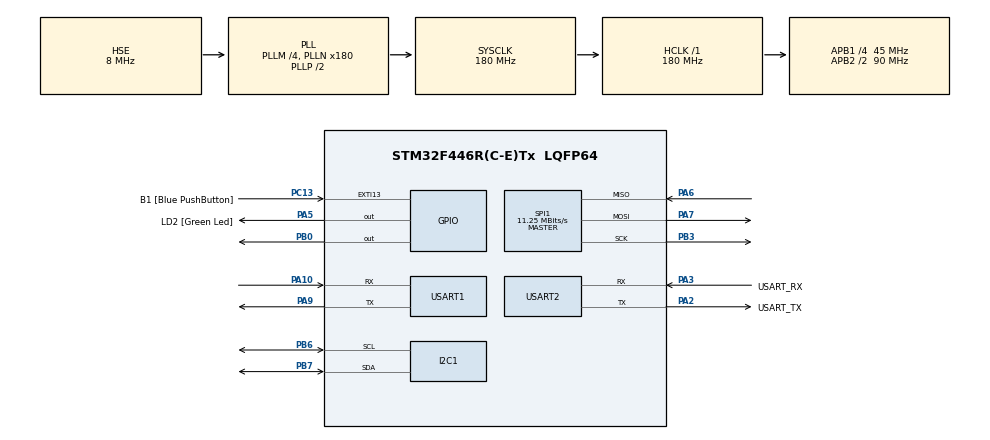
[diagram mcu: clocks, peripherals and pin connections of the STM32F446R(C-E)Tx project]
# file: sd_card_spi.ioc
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FATFS._MAX_SS=4096
FATFS._USE_LFN=1
Mcu.Family=STM32F4
Mcu.Name=STM32F446R(C-E)Tx
Mcu.Package=LQFP64
NVIC.PriorityGroup=NVIC_PRIORITYGROUP_0
NVIC.RTC_Alarm_IRQn=true\:0\:0\:false\:false\:true\:true\:true
PA10.Mode=Asynchronous
PA10.Signal=USART1_RX
PA13.GPIO_Label=TMS
PA13.Mode=Serial_Wire
PA13.Signal=SYS_JTMS-SWDIO
PA14.GPIO_Label=TCK
PA14.Mode=Serial_Wire
PA14.Signal=SYS_JTCK-SWCLK
PA2.GPIO_Label=USART_TX
PA2.Mode=Asynchronous
PA2.Signal=USART2_TX
PA3.GPIO_Label=USART_RX
PA3.Mode=Asynchronous
PA3.Signal=USART2_RX
PA5.GPIO_Label=LD2 [Green Led]
PA5.Signal=GPIO_Output
PA6.Mode=Full_Duplex_Master
PA6.Signal=SPI1_MISO
PA7.Mode=Full_Duplex_Master
PA7.Signal=SPI1_MOSI
PA9.Mode=Asynchronous
PA9.Signal=USART1_TX
PB0.Signal=GPIO_Output
PB3.Mode=Full_Duplex_Master
PB3.Signal=SPI1_SCK
PB6.Mode=I2C
PB6.Signal=I2C1_SCL
PB7.Mode=I2C
PB7.Signal=I2C1_SDA
PC13.GPIO_Label=B1 [Blue PushButton]
PC13.GPIO_ModeDefaultEXTI=GPIO_MODE_IT_FALLING
PC13.Signal=GPXTI13
PC14-OSC32_IN.Mode=LSE-External-Oscillator
PC14-OSC32_IN.Signal=RCC_OSC32_IN
PC15-OSC32_OUT.Mode=LSE-External-Oscillator
PC15-OSC32_OUT.Signal=RCC_OSC32_OUT
PH0-OSC_IN.Mode=HSE-External-Oscillator
PH0-OSC_IN.Signal=RCC_OSC_IN
PH1-OSC_OUT.Mode=HSE-External-Oscillator
PH1-OSC_OUT.Signal=RCC_OSC_OUT
ProjectManager.HeapSize=0x200
ProjectManager.StackSize=0x400
ProjectManager.TargetToolchain=STM32CubeIDE
RCC.48MHZClocksFreq_Value=84000000
RCC.AHBFreq_Value=180000000
RCC.APB1CLKDivider=RCC_HCLK_DIV4
RCC.APB1Freq_Value=45000000
RCC.APB1TimFreq_Value=90000000
RCC.APB2CLKDivider=RCC_HCLK_DIV2
RCC.APB2Freq_Value=90000000
RCC.APB2TimFreq_Value=180000000
RCC.CortexFreq_Value=180000000
RCC.FLatency-AdvancedSettings=FLASH_LATENCY_5
RCC.HCLKFreq_Value=180000000
RCC.HSE_VALUE=8000000
RCC.HSI_VALUE=16000000
RCC.PLLM=4
RCC.PLLN=180
RCC.PLLSourceVirtual=RCC_PLLSOURCE_HSE
RCC.SYSCLKFreq_VALUE=180000000
RCC.SYSCLKSource=RCC_SYSCLKSOURCE_PLLCLK
RCC.USBFreq_Value=180000000
RCC.VCOOutputFreq_Value=360000000
RTC.Alarm=RTC_ALARM_A
RTC.Date=22
RTC.Hours=5
RTC.Hours_A=5
RTC.Minutes=40
RTC.Minutes_A=45
RTC.Month=RTC_MONTH_MAY
RTC.WeekDay=RTC_WEEKDAY_FRIDAY
RTC.Year=20
SPI1.BaudRatePrescaler=SPI_BAUDRATEPRESCALER_8
SPI1.CalculateBaudRate=11.25 MBits/s
SPI1.Direction=SPI_DIRECTION_2LINES
SPI1.Mode=SPI_MODE_MASTER
SPI1.VirtualType=VM_MASTER
USART1.VirtualMode=VM_ASYNC
USART2.VirtualMode=VM_ASYNC
VP_FATFS_VS_Generic.Mode=User_defined
VP_RTC_VS_RTC_Activate.Mode=RTC_Enabled
VP_RTC_VS_RTC_Alarm_A_Intern.Mode=Alarm A
VP_RTC_VS_RTC_Calendar.Mode=RTC_Calendar
board=NUCLEO-F446RE

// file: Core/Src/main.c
/* USER CODE BEGIN Header */
/**
  ******************************************************************************
  * @file           : main.c
  * @brief          : Main program body
  ******************************************************************************
  * @attention
  *
  * <h2><center>&copy; Copyright (c) 2020 STMicroelectronics.
  * All rights reserved.</center></h2>
  *
  * This software component is licensed by ST under BSD 3-Clause license,
  * the "License"; You may not use this file except in compliance with the
  * License. You may obtain a copy of the License at:
  *                        opensource.org/licenses/BSD-3-Clause
  *
  ******************************************************************************
  */
/* USER CODE END Header */
/*
 ******************************************************************************
 * Project: ATM mini
 * Developer: Luis Arturo Reyes Llanos
 * E-mail: desarrollo.hardware@cdsautomático
 *
 * Overview: this
 ******************************************************************************
 */

#include "main.h"
#include "fatfs.h"

/* USER CODE BEGIN Includes */
#include "fatfs_sd.h"
#include "stdio.h"
#include "string.h"
/* USER CODE END Includes */

/* USER CODE BEGIN PD */
#define BUFFER_SIZE 128	//Buffer para la lectura de memoria SD
#define DS3231_ADDRESS 0xD0
/* USER CODE END PD */

I2C_HandleTypeDef hi2c1;

RTC_HandleTypeDef hrtc;

SPI_HandleTypeDef hspi1;

UART_HandleTypeDef huart1;
UART_HandleTypeDef huart2;

/* USER CODE BEGIN PV */
uint8_t buttonPinFlag;		//Bandera para la interrupción externa.

FATFS fs;  					//Variable de tipo archivo de sistema
FIL fil;					//Variable de tipo archivo
FILINFO fno;				//Variable de tipo información de archivo
FRESULT fresult;  			//Variable para almacenar resultado de operaciones
UINT br, bw;  				//Variables contador para lectura/escritura

/**** Variables relacionadas a capacidad de almacenamiento *****/
FATFS *pfs;
DWORD fre_clust;
uint32_t total, free_space;

char buffer[BUFFER_SIZE];  	//Arreglo para almacenar cadenas
int i = 0;					//Contador para recorrer "buffer"

volatile uint8_t alarmFlag = 0;

typedef struct {
	uint8_t seconds;
	uint8_t minutes;
	uint8_t hour;
	uint8_t dayofweek;
	uint8_t dayofmonth;
	uint8_t month;
	uint8_t year;
} TIME;

TIME time;
/* USER CODE END PV */

void SystemClock_Config(void);
static void MX_GPIO_Init(void);
static void MX_USART2_UART_Init(void);
static void MX_SPI1_Init(void);
static void MX_I2C1_Init(void);
static void MX_RTC_Init(void);
static void MX_USART1_UART_Init(void);
/* USER CODE BEGIN PFP */
int Buffer_Size (uint8_t *buf);	//Gets buffer size
void Clear_Buffer (void);		//Clears the transmit buffer
void Send_Uart(char *string);	//Sends a string through serial port

static void Set_Time(void);		//Setting time
static void Set_Date(void);		//Setting date
static void Set_Alarm(void);	//Setting alarm

void HAL_RTC_AlarmAEventCallback(RTC_HandleTypeDef * hrtc);	//Alarm handler

static uint8_t decToBcd(int val);
static int bcdToDec(uint8_t val);

static void Set_Time_External(uint8_t sec, uint8_t min, uint8_t hour, uint8_t dow, uint8_t dom, uint8_t month, uint8_t year);
static void Get_Time_External(void);
/* USER CODE END PFP */

/* USER CODE BEGIN 0 */
//======================================================================================
//======================================================================================
/*
 * Gets buffer data size.
 * @param buf: pointer to uint8_t array.
 * @return i: size of buffer.
 */
int Buffer_Size (uint8_t *buf)
{
	int i = 0;
	while(*buf++ != '\0')
		i++;
	return i;
}
//======================================================================================
//======================================================================================
/*
 * Clears data buffer.
 */
void Clear_Buffer(void)
{
	for(int i = 0; i < BUFFER_SIZE; i++)
		buffer[i] = '\0';
}
//======================================================================================
//======================================================================================
/*
 * Sends a string through serial port.
 * @param string: a pointer to char array.
 */
void Send_Uart(char * string)
{
	uint8_t len = strlen(string);
	HAL_UART_Transmit(&huart1, (uint8_t *) string, len, HAL_MAX_DELAY);  //Blocking mode transmit
}
//======================================================================================
//======================================================================================
/*
 * Sets the time.
 */
static void Set_Time(void)
{

	RTC_TimeTypeDef sTime = {0};

	sTime.Hours = 0x10;
	sTime.Minutes = 0x50;
	sTime.Seconds = 0x00;
	sTime.DayLightSaving = RTC_DAYLIGHTSAVING_NONE;
	sTime.StoreOperation = RTC_STOREOPERATION_RESET;
	if (HAL_RTC_SetTime(&hrtc, &sTime, RTC_FORMAT_BCD) != HAL_OK)
	{
	  Error_Handler();
	}

	return;
}
//======================================================================================
//======================================================================================
/*
 * Sets the date.
 */
static void Set_Date(void)
{
	RTC_DateTypeDef sDate = {0};

	sDate.WeekDay = RTC_WEEKDAY_FRIDAY;
	sDate.Month = RTC_MONTH_MAY;
	sDate.Date = 0x22;
	sDate.Year = 0x20;

	if (HAL_RTC_SetDate(&hrtc, &sDate, RTC_FORMAT_BCD) != HAL_OK)
	{
	  Error_Handler();
	}

	return;
}
//======================================================================================
//======================================================================================
/*
 * Sets the alarm in interrupt mode.
 */
static void Set_Alarm(void)
{
	RTC_AlarmTypeDef sAlarm = {0};

	sAlarm.AlarmTime.Hours = 0x12;
	sAlarm.AlarmTime.Minutes = 0x00;
	sAlarm.AlarmTime.Seconds = 0x00;
	sAlarm.AlarmTime.SubSeconds = 0x00;
	sAlarm.AlarmTime.DayLightSaving = RTC_DAYLIGHTSAVING_NONE;
	sAlarm.AlarmTime.StoreOperation = RTC_STOREOPERATION_RESET;
	sAlarm.AlarmMask = RTC_ALARMMASK_NONE;
	sAlarm.AlarmSubSecondMask = RTC_ALARMSUBSECONDMASK_ALL;
	sAlarm.AlarmDateWeekDaySel = RTC_ALARMDATEWEEKDAYSEL_DATE;
	sAlarm.AlarmDateWeekDay = 0x22;
	sAlarm.Alarm = RTC_ALARM_A;
	if (HAL_RTC_SetAlarm_IT(&hrtc, &sAlarm, RTC_FORMAT_BCD) != HAL_OK)
	{
	  Error_Handler();
	}

	return;
}
//======================================================================================
//======================================================================================
/*
 * Alarm event handler. Interrupt happens when actual time is equals to alarm
 */
void HAL_RTC_AlarmAEventCallback (RTC_HandleTypeDef * hrtc)
{
//	char logName[17];
//	RTC_DateTypeDef gDate;
//
//	HAL_RTC_GetDate(hrtc, &gDate, RTC_FORMAT_BIN);
//	sprintf(logName, "log_%02u-%02u-%02u.txt", gDate.Date, gDate.Month, gDate.Year);
//
//	fresult = f_open(&fil, logName, FA_CREATE_ALWAYS | FA_WRITE);
//	f_close(&fil);

//	uint8_t alarmArray[] = "Alarm!\n";
//	HAL_UART_Transmit(&huart1, alarmArray, sizeof(alarmArray), 200);

	alarmFlag = 1;

	return;
}
//======================================================================================
//======================================================================================
static uint8_t decToBcd(int val)
{
	return (uint8_t)((val/10*16) + (val%10));
}
//======================================================================================
//======================================================================================
static int bcdToDec(uint8_t val)
{
	return (int)((val/16*10) + (val%16));
}
//======================================================================================
//======================================================================================
static void Set_Time_External(uint8_t sec, uint8_t min, uint8_t hour, uint8_t dow, uint8_t dom, uint8_t month, uint8_t year)
{
	uint8_t set_time[7];
	set_time[0] = decToBcd(sec);
	set_time[1] = decToBcd(min);
	set_time[2] = decToBcd(hour);
	set_time[3] = decToBcd(dow);
	set_time[4] = decToBcd(dom);
	set_time[5] = decToBcd(month);
	set_time[6] = decToBcd(year);

	HAL_I2C_Mem_Write(&hi2c1, DS3231_ADDRESS, 0x00, 1, set_time, 7, 1000);
}
//======================================================================================
//======================================================================================
static void Get_Time_External(void)
{
	uint8_t get_time[7];
	HAL_I2C_Mem_Read(&hi2c1, DS3231_ADDRESS, 0x00, 1, get_time, 7, 1000);

	time.seconds = bcdToDec(get_time[0]);
	time.minutes = bcdToDec(get_time[1]);
	time.hour = bcdToDec(get_time[2]);
	time.dayofweek = bcdToDec(get_time[3]);
	time.dayofmonth = bcdToDec(get_time[4]);
	time.month = bcdToDec(get_time[5]);
	time.year = bcdToDec(get_time[6]);
}
//======================================================================================
//======================================================================================
/* USER CODE END 0 */

int main(void)
{

  /* MCU Configuration--------------------------------------------------------*/

  /* Reset of all peripherals, Initializes the Flash interface and the Systick. */
  HAL_Init();

  /* Configure the system clock */
  SystemClock_Config();

  /* Initialize all configured peripherals */
  MX_GPIO_Init();
  MX_USART2_UART_Init();
  MX_SPI1_Init();
  MX_FATFS_Init();
  MX_I2C1_Init();
  MX_RTC_Init();
  MX_USART1_UART_Init();
  /* USER CODE BEGIN 2 */

  //This sentence evaluates if time/date/alarm was already updated
//  if(HAL_RTCEx_BKUPRead(&hrtc, RTC_BKP_DR1) != 0x32F2)
//  {
//  //Set the time, date and alarm
//	  Set_Time();
//      Set_Date();
//      Set_Alarm();
//      //This is used to store value even when uC is restarted (using backup battery/supply)
//      HAL_RTCEx_BKUPWrite(&hrtc, RTC_BKP_DR1, 0x32F2);
//  }

//  Set_Time();
//  Set_Date();
//  Set_Alarm();

  /*
   *
   */
  fresult = f_mount(&fs, "/", 1);
  if(fresult != FR_OK)
	  Send_Uart("Error in mounting SD CARD.\n\n");
  else
	  Send_Uart("SD CARD mounted successfully.\n\n");

  Set_Time_External(0, 0, 0, 5, 3, 1, 19);

//  fresult = f_open(&fil, "file1.txt", FA_OPEN_EXISTING | FA_READ | FA_WRITE);
//
//  //Move to offset to the end of the file
//  fresult = f_lseek(&fil, f_size(&fil));
//
//  if(fresult == FR_OK)
//	  Send_Uart("About to update the file1.txt\n");
//  else
//	  Send_Uart("Error in opening file1.txt\n");
//
//  //Write the string to the file
//  fresult = f_puts("\nActualización", &fil);
//
//  f_close(&fil);
//
//  Clear_Buffer();

  /* USER CODE END 2 */

  /* Infinite loop */
  /* USER CODE BEGIN WHILE */
  RTC_TimeTypeDef gTime;		//Time structure
  RTC_DateTypeDef gDate;		//Date structure
//  uint8_t time[10];				//Time array
  uint8_t timeToSend[10];				//Time array
  uint8_t date[10];				//Date array
  while (1)
  {
	  //Function call to get time. Returns hours, minutes and seconds on gTime struct variable.
//  	  HAL_RTC_GetTime(&hrtc, &gTime, RTC_FORMAT_BIN);
//  	  HAL_RTC_GetDate(&hrtc, &gDate, RTC_FORMAT_BIN);
//
//  	  //Function call to store as string second argument into first argument. Returns number of bytes of string copied.
//  	  uint8_t timeSizeBuffer = sprintf((char *)time, "%02u:%02u:%02u\n", gTime.Hours, gTime.Minutes, gTime.Seconds);
//	  uint8_t dateSizeBuffer = sprintf((char *)date, "%02u-%02u-%02u ", gDate.Date, gDate.Month, gDate.Year);

	  Get_Time_External();
	  uint8_t timeSizeBuffer = sprintf(timeToSend, "%02d:%02d:%02d\n", time.hour, time.minutes, time.seconds);

//	  fresult = f_open(&fil, "file1.txt", FA_OPEN_EXISTING | FA_READ | FA_WRITE);
//	  fresult = f_lseek(&fil, f_size(&fil));
//
//	  fresult = f_write(&fil, date, dateSizeBuffer, &bw);
//	  fresult = f_write(&fil, time, timeSizeBuffer, &bw);

//	  f_close(&fil);
//
//    Clear_Buffer();

  	  //Function call to transmit time array through serial port
   	  HAL_UART_Transmit(&huart1, timeToSend, timeSizeBuffer, 500);

   	  if(alarmFlag)
   	  {
   		  alarmFlag = 0;
   		  uint8_t alarmArray[] = "Alarm!\n";
   		  HAL_UART_Transmit(&huart1, alarmArray, sizeof(alarmArray), 200);
   	  }

   	  Clear_Buffer();
   	  HAL_Delay(1000);

    /* USER CODE END WHILE */

    /* USER CODE BEGIN 3 */
  }
  return 0;
  /* USER CODE END 3 */
}

void SystemClock_Config(void)
{
  RCC_OscInitTypeDef RCC_OscInitStruct = {0};
  RCC_ClkInitTypeDef RCC_ClkInitStruct = {0};
  RCC_PeriphCLKInitTypeDef PeriphClkInitStruct = {0};

  /** Configure the main internal regulator output voltage
  */
  __HAL_RCC_PWR_CLK_ENABLE();
  __HAL_PWR_VOLTAGESCALING_CONFIG(PWR_REGULATOR_VOLTAGE_SCALE1);
  /** Initializes the CPU, AHB and APB busses clocks
  */
  RCC_OscInitStruct.OscillatorType = RCC_OSCILLATORTYPE_LSI|RCC_OSCILLATORTYPE_HSE;
  RCC_OscInitStruct.HSEState = RCC_HSE_ON;
  RCC_OscInitStruct.LSEState = RCC_LSE_ON;
  RCC_OscInitStruct.LSIState = RCC_LSI_ON;
  RCC_OscInitStruct.PLL.PLLState = RCC_PLL_ON;
  RCC_OscInitStruct.PLL.PLLSource = RCC_PLLSOURCE_HSE;
  RCC_OscInitStruct.PLL.PLLM = 4;
  RCC_OscInitStruct.PLL.PLLN = 180;
  RCC_OscInitStruct.PLL.PLLP = RCC_PLLP_DIV2;
  RCC_OscInitStruct.PLL.PLLQ = 2;
  RCC_OscInitStruct.PLL.PLLR = 2;
  if (HAL_RCC_OscConfig(&RCC_OscInitStruct) != HAL_OK)
  {
    Error_Handler();
  }
  /** Activate the Over-Drive mode
  */
  if (HAL_PWREx_EnableOverDrive() != HAL_OK)
  {
    Error_Handler();
  }
  /** Initializes the CPU, AHB and APB busses clocks
  */
  RCC_ClkInitStruct.ClockType = RCC_CLOCKTYPE_HCLK|RCC_CLOCKTYPE_SYSCLK
                              |RCC_CLOCKTYPE_PCLK1|RCC_CLOCKTYPE_PCLK2;
  RCC_ClkInitStruct.SYSCLKSource = RCC_SYSCLKSOURCE_PLLCLK;
  RCC_ClkInitStruct.AHBCLKDivider = RCC_SYSCLK_DIV1;
  RCC_ClkInitStruct.APB1CLKDivider = RCC_HCLK_DIV4;
  RCC_ClkInitStruct.APB2CLKDivider = RCC_HCLK_DIV2;

  if (HAL_RCC_ClockConfig(&RCC_ClkInitStruct, FLASH_LATENCY_5) != HAL_OK)
  {
    Error_Handler();
  }
  PeriphClkInitStruct.PeriphClockSelection = RCC_PERIPHCLK_RTC;
  PeriphClkInitStruct.RTCClockSelection = RCC_RTCCLKSOURCE_LSI;
  if (HAL_RCCEx_PeriphCLKConfig(&PeriphClkInitStruct) != HAL_OK)
  {
    Error_Handler();
  }
}

static void MX_I2C1_Init(void)
{

  hi2c1.Instance = I2C1;
  hi2c1.Init.ClockSpeed = 100000;
  hi2c1.Init.DutyCycle = I2C_DUTYCYCLE_2;
  hi2c1.Init.OwnAddress1 = 0;
  hi2c1.Init.AddressingMode = I2C_ADDRESSINGMODE_7BIT;
  hi2c1.Init.DualAddressMode = I2C_DUALADDRESS_DISABLE;
  hi2c1.Init.OwnAddress2 = 0;
  hi2c1.Init.GeneralCallMode = I2C_GENERALCALL_DISABLE;
  hi2c1.Init.NoStretchMode = I2C_NOSTRETCH_DISABLE;
  if (HAL_I2C_Init(&hi2c1) != HAL_OK)
  {
    Error_Handler();
  }

}

static void MX_RTC_Init(void)
{

  RTC_TimeTypeDef sTime = {0};
  RTC_DateTypeDef sDate = {0};
  RTC_AlarmTypeDef sAlarm = {0};

  /** Initialize RTC Only
  */
  hrtc.Instance = RTC;
  hrtc.Init.HourFormat = RTC_HOURFORMAT_24;
  hrtc.Init.AsynchPrediv = 127;
  hrtc.Init.SynchPrediv = 255;
  hrtc.Init.OutPut = RTC_OUTPUT_DISABLE;
  hrtc.Init.OutPutPolarity = RTC_OUTPUT_POLARITY_HIGH;
  hrtc.Init.OutPutType = RTC_OUTPUT_TYPE_OPENDRAIN;
  if (HAL_RTC_Init(&hrtc) != HAL_OK)
  {
    Error_Handler();
  }

  /** Initialize RTC and set the Time and Date
  */
  sTime.Hours = 0x5;
  sTime.Minutes = 0x40;
  sTime.Seconds = 0x0;
  sTime.DayLightSaving = RTC_DAYLIGHTSAVING_NONE;
  sTime.StoreOperation = RTC_STOREOPERATION_RESET;
  if (HAL_RTC_SetTime(&hrtc, &sTime, RTC_FORMAT_BCD) != HAL_OK)
  {
    Error_Handler();
  }
  sDate.WeekDay = RTC_WEEKDAY_FRIDAY;
  sDate.Month = RTC_MONTH_MAY;
  sDate.Date = 0x22;
  sDate.Year = 0x20;

  if (HAL_RTC_SetDate(&hrtc, &sDate, RTC_FORMAT_BCD) != HAL_OK)
  {
    Error_Handler();
  }
  /** Enable the Alarm A
  */
  sAlarm.AlarmTime.Hours = 0x5;
  sAlarm.AlarmTime.Minutes = 0x45;
  sAlarm.AlarmTime.Seconds = 0x0;
  sAlarm.AlarmTime.SubSeconds = 0x0;
  sAlarm.AlarmTime.DayLightSaving = RTC_DAYLIGHTSAVING_NONE;
  sAlarm.AlarmTime.StoreOperation = RTC_STOREOPERATION_RESET;
  sAlarm.AlarmMask = RTC_ALARMMASK_NONE;
  sAlarm.AlarmSubSecondMask = RTC_ALARMSUBSECONDMASK_ALL;
  sAlarm.AlarmDateWeekDaySel = RTC_ALARMDATEWEEKDAYSEL_DATE;
  sAlarm.AlarmDateWeekDay = 0x1;
  sAlarm.Alarm = RTC_ALARM_A;
  if (HAL_RTC_SetAlarm_IT(&hrtc, &sAlarm, RTC_FORMAT_BCD) != HAL_OK)
  {
    Error_Handler();
  }

}

static void MX_SPI1_Init(void)
{

  /* SPI1 parameter configuration*/
  hspi1.Instance = SPI1;
  hspi1.Init.Mode = SPI_MODE_MASTER;
  hspi1.Init.Direction = SPI_DIRECTION_2LINES;
  hspi1.Init.DataSize = SPI_DATASIZE_8BIT;
  hspi1.Init.CLKPolarity = SPI_POLARITY_LOW;
  hspi1.Init.CLKPhase = SPI_PHASE_1EDGE;
  hspi1.Init.NSS = SPI_NSS_SOFT;
  hspi1.Init.BaudRatePrescaler = SPI_BAUDRATEPRESCALER_8;
  hspi1.Init.FirstBit = SPI_FIRSTBIT_MSB;
  hspi1.Init.TIMode = SPI_TIMODE_DISABLE;
  hspi1.Init.CRCCalculation = SPI_CRCCALCULATION_DISABLE;
  hspi1.Init.CRCPolynomial = 10;
  if (HAL_SPI_Init(&hspi1) != HAL_OK)
  {
    Error_Handler();
  }

}

static void MX_USART1_UART_Init(void)
{

  huart1.Instance = USART1;
  huart1.Init.BaudRate = 115200;
  huart1.Init.WordLength = UART_WORDLENGTH_8B;
  huart1.Init.StopBits = UART_STOPBITS_1;
  huart1.Init.Parity = UART_PARITY_NONE;
  huart1.Init.Mode = UART_MODE_TX_RX;
  huart1.Init.HwFlowCtl = UART_HWCONTROL_NONE;
  huart1.Init.OverSampling = UART_OVERSAMPLING_16;
  if (HAL_UART_Init(&huart1) != HAL_OK)
  {
    Error_Handler();
  }

}

static void MX_USART2_UART_Init(void)
{

  huart2.Instance = USART2;
  huart2.Init.BaudRate = 115200;
  huart2.Init.WordLength = UART_WORDLENGTH_8B;
  huart2.Init.StopBits = UART_STOPBITS_1;
  huart2.Init.Parity = UART_PARITY_NONE;
  huart2.Init.Mode = UART_MODE_TX_RX;
  huart2.Init.HwFlowCtl = UART_HWCONTROL_NONE;
  huart2.Init.OverSampling = UART_OVERSAMPLING_16;
  if (HAL_UART_Init(&huart2) != HAL_OK)
  {
    Error_Handler();
  }

}

static void MX_GPIO_Init(void)
{
  GPIO_InitTypeDef GPIO_InitStruct = {0};

  /* GPIO Ports Clock Enable */
  __HAL_RCC_GPIOC_CLK_ENABLE();
  __HAL_RCC_GPIOH_CLK_ENABLE();
  __HAL_RCC_GPIOA_CLK_ENABLE();
  __HAL_RCC_GPIOB_CLK_ENABLE();

  /*Configure GPIO pin Output Level */
  HAL_GPIO_WritePin(LD2_GPIO_Port, LD2_Pin, GPIO_PIN_RESET);

  /*Configure GPIO pin Output Level */
  HAL_GPIO_WritePin(GPIOB, GPIO_PIN_0, GPIO_PIN_RESET);

  /*Configure GPIO pin : B1_Pin */
  GPIO_InitStruct.Pin = B1_Pin;
  GPIO_InitStruct.Mode = GPIO_MODE_IT_FALLING;
  GPIO_InitStruct.Pull = GPIO_NOPULL;
  HAL_GPIO_Init(B1_GPIO_Port, &GPIO_InitStruct);

  /*Configure GPIO pin : LD2_Pin */
  GPIO_InitStruct.Pin = LD2_Pin;
  GPIO_InitStruct.Mode = GPIO_MODE_OUTPUT_PP;
  GPIO_InitStruct.Pull = GPIO_NOPULL;
  GPIO_InitStruct.Speed = GPIO_SPEED_FREQ_LOW;
  HAL_GPIO_Init(LD2_GPIO_Port, &GPIO_InitStruct);

  /*Configure GPIO pin : PB0 */
  GPIO_InitStruct.Pin = GPIO_PIN_0;
  GPIO_InitStruct.Mode = GPIO_MODE_OUTPUT_PP;
  GPIO_InitStruct.Pull = GPIO_NOPULL;
  GPIO_InitStruct.Speed = GPIO_SPEED_FREQ_LOW;
  HAL_GPIO_Init(GPIOB, &GPIO_InitStruct);

}

void Error_Handler(void)
{
}

/************************ (C) COPYRIGHT STMicroelectronics *****END OF FILE****/
